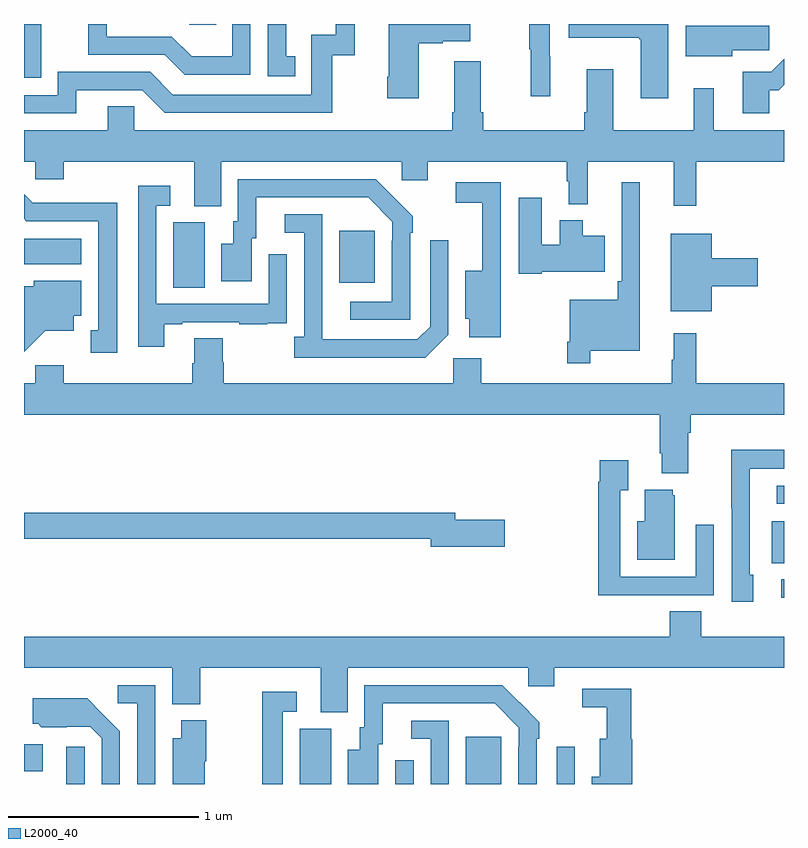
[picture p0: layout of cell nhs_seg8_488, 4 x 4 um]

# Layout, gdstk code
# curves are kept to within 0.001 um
import gdstk
lib = gdstk.Library(unit=1e-6, precision=1e-09)
def R(c, l, rs):  # rectangles x0, y0, x1, y1
    for r in rs: c.add(gdstk.rectangle(r[:2], r[2:], *l))
def P(c, l, *ps):  # polygons
    for p in ps: c.add(gdstk.Polygon(p, *l))
L2000_40 = (2000, 40)

nhs_seg8_488 = lib.new_cell('nhs_seg8_488')
R(nhs_seg8_488, L2000_40, [(143.223,1103.9,143.319,1104.097), (144.452,1103.9,144.616,1104.192), (144.954,1103.9,145.05,1104.025), (145.325,1103.9,145.513,1104.148), (145.803,1103.9,145.899,1104.097), (143,1103.968,143.098,1104.108), (146.985,1104.881,147,1104.978), (146.936,1105.063,147,1105.282), (146.961,1105.374,147,1105.47), (143.786,1106.512,143.95,1106.856), (144.659,1106.537,144.847,1106.812), (143,1106.636,143.302,1106.77), (143.871,1107.897,144.011,1107.9)])
P(nhs_seg8_488, L2000_40, [(143.275,1107.552),(143.622,1107.552),(143.742,1107.432),(144.622,1107.432),(144.622,1107.735),(144.74,1107.735),(144.74,1107.9),(144.642,1107.9),(144.642,1107.843),(144.513,1107.843),(144.513,1107.528),(143.784,1107.528),(143.664,1107.648),(143.178,1107.648),(143.178,1107.525),(143,1107.525),(143,1107.429),(143.275,1107.429)],
  [(145.078,1107.799),(145.205,1107.799),(145.205,1107.809),(145.348,1107.809),(145.348,1107.9),(144.92,1107.9),(144.92,1107.622),(144.913,1107.622),(144.913,1107.51),(145.078,1107.51)],
  [(144.192,1107.9),(144.096,1107.9),(144.096,1107.73),(143.882,1107.73),(143.778,1107.834),(143.436,1107.834),(143.436,1107.9),(143.338,1107.9),(143.338,1107.738),(143.741,1107.738),(143.846,1107.633),(144.192,1107.633)],
  [(143.091,1107.823),(143.09,1107.823),(143.09,1107.9),(143,1107.9),(143,1107.617),(143.091,1107.617)],
  [(145.769,1107.731),(145.767,1107.731),(145.767,1107.9),(145.659,1107.9),(145.659,1107.768),(145.666,1107.768),(145.666,1107.519),(145.769,1107.519)],
  [(146.392,1107.9),(145.866,1107.9),(145.866,1107.827),(146.239,1107.827),(146.239,1107.82),(146.246,1107.82),(146.246,1107.51),(146.392,1107.51)],
  [(144.428,1107.729),(144.379,1107.729),(144.379,1107.9),(144.282,1107.9),(144.282,1107.624),(144.428,1107.624)],
  [(146.728,1107.763),(146.923,1107.763),(146.923,1107.892),(146.484,1107.892),(146.484,1107.731),(146.728,1107.731)],
  [(146.923,1107.551),(146.972,1107.551),(147,1107.579),(147,1107.717),(146.932,1107.649),(146.783,1107.649),(146.783,1107.429),(146.923,1107.429)],
  [(144.037,1107.176),(144.987,1107.176),(144.987,1107.078),(145.126,1107.078),(145.126,1107.176),(145.857,1107.176),(145.857,1107.073),(145.868,1107.073),(145.868,1106.951),(145.967,1106.951),(145.967,1107.176),(146.42,1107.176),(146.42,1106.943),(146.537,1106.943),(146.537,1107.176),(147,1107.176),(147,1107.34),(146.629,1107.34),(146.629,1107.562),(146.525,1107.562),(146.525,1107.34),(146.101,1107.34),(146.101,1107.661),(145.961,1107.661),(145.961,1107.436),(145.949,1107.436),(145.949,1107.34),(145.418,1107.34),(145.418,1107.436),(145.405,1107.436),(145.405,1107.703),(145.265,1107.703),(145.265,1107.436),(145.253,1107.436),(145.253,1107.34),(143.58,1107.34),(143.58,1107.467),(143.441,1107.467),(143.441,1107.34),(143,1107.34),(143,1107.176),(143.058,1107.176),(143.058,1107.083),(143.21,1107.083),(143.21,1107.176),(143.897,1107.176),(143.897,1106.941),(144.037,1106.941)],
  [(145.032,1106.801),(145.047,1106.801),(145.047,1106.889),(144.85,1107.084),(144.126,1107.084),(144.126,1106.862),(144.101,1106.862),(144.101,1106.743),(144.038,1106.743),(144.038,1106.547),(144.199,1106.547),(144.199,1106.772),(144.223,1106.772),(144.223,1106.988),(144.811,1106.988),(144.939,1106.859),(144.939,1106.759),(144.936,1106.759),(144.936,1106.439),(144.717,1106.439),(144.717,1106.343),(145.032,1106.343)],
  [(145.981,1106.18),(146.242,1106.18),(146.242,1107.067),(146.145,1107.067),(146.145,1106.545),(146.125,1106.545),(146.125,1106.449),(145.872,1106.449),(145.872,1106.227),(145.86,1106.227),(145.86,1106.115),(145.981,1106.115)],
  [(145.51,1106.449),(145.509,1106.449),(145.509,1107.066),(145.272,1107.066),(145.272,1106.958),(145.412,1106.958),(145.412,1106.602),(145.322,1106.602),(145.322,1106.349),(145.343,1106.349),(145.343,1106.252),(145.51,1106.252)],
  [(143.737,1106.319),(143.833,1106.319),(143.833,1106.331),(144.133,1106.331),(144.133,1106.319),(144.281,1106.319),(144.281,1106.325),(144.383,1106.325),(144.383,1106.434),(144.384,1106.434),(144.384,1106.689),(144.288,1106.689),(144.288,1106.427),(143.697,1106.427),(143.697,1106.943),(143.77,1106.943),(143.77,1107.049),(143.601,1107.049),(143.601,1106.202),(143.737,1106.202)],
  [(143.491,1106.96),(143.268,1106.96),(143.268,1106.958),(143.046,1106.958),(143,1107.004),(143,1106.875),(143.013,1106.862),(143.39,1106.862),(143.39,1106.289),(143.351,1106.289),(143.351,1106.169),(143.491,1106.169)],
  [(145.726,1106.597),(146.056,1106.597),(146.056,1106.785),(145.942,1106.785),(145.942,1106.866),(145.82,1106.866),(145.82,1106.737),(145.726,1106.737),(145.726,1106.986),(145.604,1106.986),(145.604,1106.585),(145.726,1106.585)],
  [(145.233,1106.265),(145.233,1106.761),(145.137,1106.761),(145.137,1106.307),(145.071,1106.241),(144.571,1106.241),(144.57,1106.898),(144.372,1106.898),(144.372,1106.802),(144.474,1106.802),(144.474,1106.254),(144.423,1106.254),(144.423,1106.144),(145.112,1106.144)],
  [(146.62,1106.519),(146.863,1106.519),(146.863,1106.666),(146.62,1106.666),(146.62,1106.797),(146.405,1106.797),(146.405,1106.387),(146.62,1106.387)],
  [(143.008,1106.183),(143.111,1106.285),(143.263,1106.285),(143.263,1106.364),(143.302,1106.364),(143.302,1106.548),(143.052,1106.548),(143.052,1106.521),(143,1106.521),(143,1106.175)],
  [(146.497,1105.748),(146.51,1105.748),(146.51,1105.844),(147,1105.844),(147,1106.008),(146.537,1106.008),(146.537,1106.272),(146.42,1106.272),(146.42,1106.132),(146.409,1106.132),(146.409,1106.008),(145.407,1106.008),(145.407,1106.14),(145.26,1106.14),(145.26,1106.008),(144.05,1106.008),(144.05,1106.121),(144.045,1106.121),(144.045,1106.246),(143.897,1106.246),(143.897,1106.114),(143.885,1106.114),(143.885,1106.008),(143.21,1106.008),(143.21,1106.104),(143.058,1106.104),(143.058,1106.008),(143,1106.008),(143,1105.844),(146.345,1105.844),(146.345,1105.642),(146.357,1105.642),(146.357,1105.535),(146.497,1105.535)],
  [(146.839,1105.002),(146.82,1105.002),(146.82,1105.56),(147,1105.56),(147,1105.658),(146.722,1105.658),(146.722,1105.351),(146.724,1105.351),(146.724,1104.858),(146.839,1104.858)],
  [(146.315,1104.894),(146.631,1104.894),(146.631,1105.264),(146.535,1105.264),(146.535,1104.99),(146.139,1104.99),(146.139,1105.447),(146.179,1105.447),(146.179,1105.603),(146.031,1105.603),(146.031,1105.49),(146.023,1105.49),(146.023,1104.893),(146.315,1104.893)],
  [(146.425,1105.419),(146.414,1105.419),(146.414,1105.45),(146.267,1105.45),(146.267,1105.282),(146.228,1105.282),(146.228,1105.079),(146.425,1105.079)],
  [(145.531,1105.292),(145.27,1105.292),(145.27,1105.328),(143,1105.328),(143,1105.192),(145.142,1105.192),(145.142,1105.15),(145.531,1105.15)],
  [(144.703,1104.512),(145.653,1104.512),(145.653,1104.414),(145.792,1104.414),(145.792,1104.512),(147,1104.512),(147,1104.676),(146.564,1104.676),(146.564,1104.809),(146.399,1104.809),(146.399,1104.676),(143,1104.676),(143,1104.512),(143.78,1104.512),(143.78,1104.32),(143.928,1104.32),(143.928,1104.512),(144.563,1104.512),(144.563,1104.277),(144.703,1104.277)],
  [(144.865,1104.108),(144.889,1104.108),(144.889,1104.324),(145.477,1104.324),(145.605,1104.195),(145.605,1104.095),(145.602,1104.095),(145.602,1103.9),(145.698,1103.9),(145.698,1104.137),(145.713,1104.137),(145.713,1104.225),(145.516,1104.42),(144.792,1104.42),(144.792,1104.198),(144.767,1104.198),(144.767,1104.079),(144.704,1104.079),(144.704,1103.9),(144.865,1103.9)],
  [(143.691,1104.42),(143.493,1104.42),(143.493,1104.324),(143.595,1104.324),(143.595,1103.9),(143.691,1103.9)],
  [(146.201,1104.135),(146.195,1104.135),(146.195,1104.402),(145.938,1104.402),(145.938,1104.305),(146.067,1104.305),(146.067,1104.139),(146.03,1104.139),(146.03,1103.938),(145.988,1103.938),(145.988,1103.9),(146.201,1103.9)],
  [(144.363,1104.279),(144.436,1104.279),(144.436,1104.385),(144.255,1104.385),(144.255,1103.9),(144.363,1103.9)],
  [(143.505,1104.178),(143.333,1104.352),(143.045,1104.352),(143.045,1104.216),(143.076,1104.216),(143.092,1104.2),(143.349,1104.201),(143.409,1104.141),(143.409,1103.9),(143.505,1103.9)],
  [(143.95,1104.021),(143.958,1104.021),(143.958,1104.235),(143.828,1104.235),(143.828,1104.142),(143.783,1104.142),(143.783,1103.9),(143.95,1103.9)],
  [(145.236,1104.234),(145.038,1104.234),(145.038,1104.138),(145.14,1104.138),(145.14,1103.9),(145.236,1103.9)])

lib.write_gds('nhs_seg8_488.gds')
